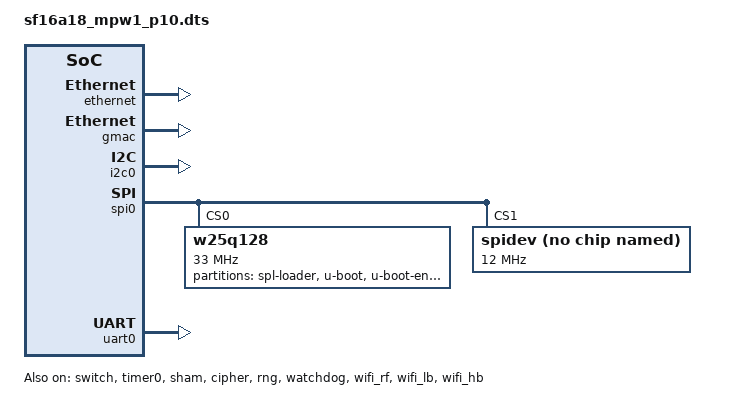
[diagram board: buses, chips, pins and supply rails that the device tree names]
/dts-v1/;

#include "sf16a18_mpw1.dtsi"
#include "sf16a18-thermal.dtsi"


/ {
	#address-cells = <1>;
	#size-cells = <1>;
	compatible = "siflower,sf16a18-soc";
};

&ethernet {
	status = "okay";
};

&switch{
	status = "okay";
};

&gmac {
	status = "okay";
};

&gdma {
	status = "okay";
};

&i2c0 {
	status = "okay";
	#address-cells = <1>;
	#size-cells = <0>;
	/include/	"sf16a18_pmu.dtsi"
};

&spi0 {
	status = "okay";
	//use-dma;
	dmas = <&gdma 10
	&gdma 11>;
	dma-names = "tx", "rx";

	#address-cells = <1>;
	#size-cells = <0>;

	w25q128@0 {
		compatible = "w25q128";
		reg = <0>;	/* chip select */
		spi-max-frequency = <33000000>;

		bank-width = <2>;
		device-width = <2>;
		#address-cells = <1>;
		#size-cells = <1>;

		partition@0 {
			label = "spl-loader";
			reg = <0x0 0x20000>; /* 128k */
			read-only;
		};

		partition@20000 {
			label = "u-boot";
			reg = <0x20000 0x60000>; /* 384k */
		};

		partition@80000 {
			label = "u-boot-env";
			reg = <0x80000 0x10000>; /* 64k */
		};

		factory:partition@90000 {
			label = "factory";
			reg = <0x90000 0x10000>; /* 64k */
		};

		partition@a0000 {
			label = "firmware";
			reg = <0xa0000 0xf60000>; /* 640k-16M */
		};
	};

	spidev: spi@8200000 {
		compatible = "rohm,dh2228fv";
		reg = <1>;
		clock = <50000000>;
		spi-cpha;
		spi-cpol;
		spi-max-frequency=<12000000>;
	};
};

&uart0 {
	status = "okay";
};

&timer0 {
	status = "okay";
};

&sham {
	status = "okay";
};

&cipher {
	status = "okay";
};

&rng {
	status = "okay";
};
&watchdog {
	status = "okay";
};

&wifi_rf {
	status = "okay";
};

&wifi_lb {
	status = "okay";
};

&wifi_hb {
	status = "okay";
};
